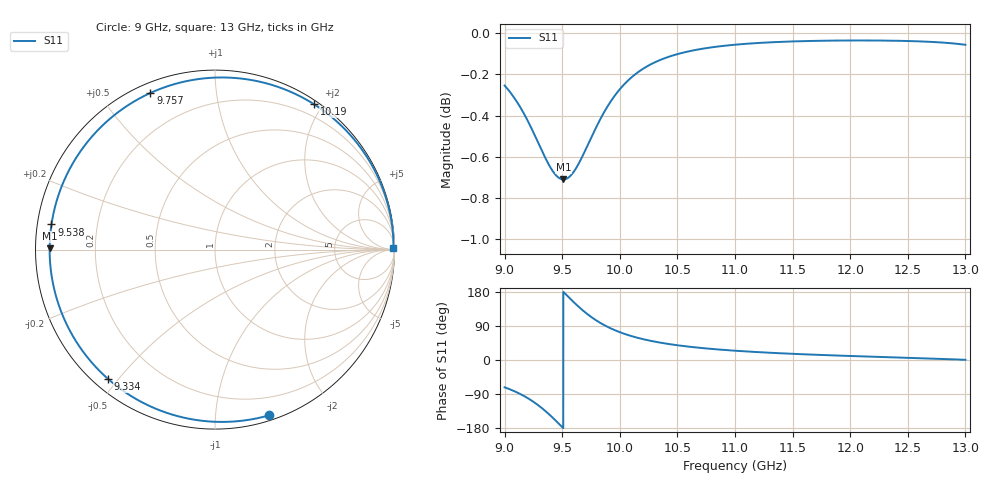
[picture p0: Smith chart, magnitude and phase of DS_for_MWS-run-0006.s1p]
! TOUCHSTONE file generated by CST DESIGN STUDIO
! Date and time: Wed Feb  5 13:30:10 2025
! Project name: C:\Work\MatlabApps\UnitCellOptimizationMatlab\CST\unitcell.cst
! Tree item: Tasks\Sweep1\SPara1\S-Parameters
! Header version: 2024
! Port assignment regex: !\s*Touchstone port\s*([0-9]+)\s*=\s*(CST MWS port|CST DES external port|CST DES block port)\s*(.+)\s* \(\"(.*)\"\)(\s*mode\s*([0-9]+))?.*
! Touchstone port assignment:
! Touchstone port 1 = CST DES external port 1 ("")
# GHz S MA R 50
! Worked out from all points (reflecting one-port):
!   4001 points, 9 GHz to 13 GHz, reference 50 ohm
!   lowest |S11| = -0.7 dB at 9.511 GHz (marker M1), VSWR 24.47, Z = 2.04 + j0.189 ohm
!   phase of S11 starts at -72 deg and turns -287 deg over the sweep
!   S11 on the Smith chart (normalised r, x): 9 GHz: 0.04, -1.37; 9.334 GHz: 0.04, -0.47; 9.538 GHz: 0.04, +0.08; 9.757 GHz: 0.04, +0.67; 10.19 GHz: 0.05, +1.89; 13 GHz: open
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9  0.9712 -72.1
9.091  0.9639 -83.2
9.195  0.9529 -99.6
9.268  0.9437 -114.1
9.334  0.9351 -129.5
9.379  0.9297 -141.4
9.425  0.9252 -154.4
9.463  0.9227 -165.7
9.5  0.9215 -177.0
9.511  0.9215 179.6
9.538  0.9218 171.3
9.591  0.9247 155.3
9.652  0.9307 138.0
9.704  0.9371 124.6
9.757  0.944 112.4
9.807  0.9503 102.3
9.862  0.9566 92.5
10  0.9692 73.4
10.091  0.9751 64.0
10.192  0.9799 55.7
10.333  0.9847 46.8
10.5  0.9884 38.9
10.721  0.9914 31.3
11  0.9936 24.5
11.5  0.9955 16.3
12  0.996 10.6
12.5  0.9957 5.7
13  0.9936 0.5
